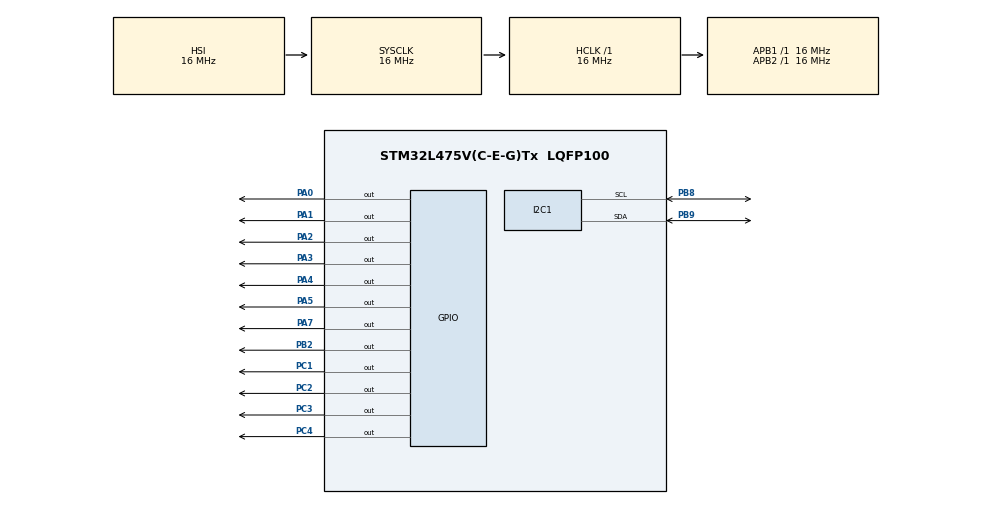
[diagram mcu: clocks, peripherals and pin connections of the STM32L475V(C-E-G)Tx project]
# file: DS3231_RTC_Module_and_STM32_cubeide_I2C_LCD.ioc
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I2C1.Timing=0x00303D5B
Mcu.Family=STM32L4
Mcu.Name=STM32L475V(C-E-G)Tx
Mcu.Package=LQFP100
NVIC.PriorityGroup=NVIC_PRIORITYGROUP_4
PA0.Signal=GPIO_Output
PA1.Signal=GPIO_Output
PA13\ (JTMS-SWDIO).Mode=Serial_Wire
PA13\ (JTMS-SWDIO).Signal=SYS_JTMS-SWDIO
PA14\ (JTCK-SWCLK).Mode=Serial_Wire
PA14\ (JTCK-SWCLK).Signal=SYS_JTCK-SWCLK
PA2.Signal=GPIO_Output
PA3.Signal=GPIO_Output
PA4.Signal=GPIO_Output
PA5.Signal=GPIO_Output
PA7.Signal=GPIO_Output
PB2.Signal=GPIO_Output
PB8.GPIO_Pu=GPIO_PULLUP
PB8.Mode=I2C
PB8.Signal=I2C1_SCL
PB9.GPIO_Pu=GPIO_PULLUP
PB9.Mode=I2C
PB9.Signal=I2C1_SDA
PC1.Signal=GPIO_Output
PC2.Signal=GPIO_Output
PC3.Signal=GPIO_Output
PC4.Signal=GPIO_Output
PH0-OSC_IN\ (PH0).Mode=HSE-External-Clock-Source
PH0-OSC_IN\ (PH0).Signal=RCC_OSC_IN
ProjectManager.HeapSize=0x200
ProjectManager.StackSize=0x400
ProjectManager.TargetToolchain=STM32CubeIDE
RCC.ADCFreq_Value=32000000
RCC.AHBFreq_Value=16000000
RCC.APB1Freq_Value=16000000
RCC.APB1TimFreq_Value=16000000
RCC.APB2Freq_Value=16000000
RCC.APB2TimFreq_Value=16000000
RCC.CortexFreq_Value=16000000
RCC.HCLKFreq_Value=16000000
RCC.HSE_VALUE=8000000
RCC.HSI_VALUE=16000000
RCC.LSE_VALUE=32768
RCC.MSI_VALUE=4000000
RCC.PLLN=13
RCC.PLLSourceVirtual=RCC_PLLSOURCE_HSE
RCC.SYSCLKFreq_VALUE=16000000
RCC.SYSCLKSource=RCC_SYSCLKSOURCE_HSI
RCC.USBFreq_Value=32000000
RCC.VCOOutputFreq_Value=104000000
board=custom

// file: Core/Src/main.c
/* USER CODE BEGIN Header */
/**
  ******************************************************************************
  * @file           : main.c
  * @brief          : Main program body
  ******************************************************************************
  * @attention
  *
  * Copyright (c) 2024 STMicroelectronics.
  * All rights reserved.
  *
  * This software is licensed under terms that can be found in the LICENSE file
  * in the root directory of this software component.
  * If no LICENSE file comes with this software, it is provided AS-IS.
  *
  ******************************************************************************
  */
/* USER CODE END Header */
#include "main.h"

/* USER CODE BEGIN Includes */
#include "i2c-lcd.h"
#include "stdio.h"
//#include "stdio.h"
/* USER CODE END Includes */

I2C_HandleTypeDef hi2c1;

void SystemClock_Config(void);
static void MX_GPIO_Init(void);
static void MX_I2C1_Init(void);

/* USER CODE BEGIN 0 */

#define DS3231_ADDRESS 0xD0
// Convert normal decimal numbers to binary coded decimal
uint8_t decToBcd(int val)
{
  return (uint8_t)( (val/10*16) + (val%10) );
}
// Convert binary coded decimal to normal decimal numbers
int bcdToDec(uint8_t val)
{
  return (int)( (val/16*10) + (val%16) );
}

typedef struct {
	uint8_t seconds;
	uint8_t minutes;
	uint8_t hour;
	uint8_t dayofweek;
	uint8_t dayofmonth;
	uint8_t month;
	uint8_t year;
}TIME;

TIME time;
/* function to set time */

void Set_Time (uint8_t sec, uint8_t min, uint8_t hour, uint8_t dow, uint8_t dom, uint8_t month, uint8_t year)
{
	uint8_t set_time[7];
	set_time[0] = decToBcd(sec);
	set_time[1] = decToBcd(min);
	set_time[2] = decToBcd(hour);
	set_time[3] = decToBcd(dow);
	set_time[4] = decToBcd(dom);
	set_time[5] = decToBcd(month);
	set_time[6] = decToBcd(year);

	HAL_I2C_Mem_Write(&hi2c1, DS3231_ADDRESS, 0x00, 1, set_time, 7, 1000);
}
void Get_Time (void)
{
	uint8_t get_time[7];
	HAL_I2C_Mem_Read(&hi2c1, DS3231_ADDRESS, 0x00, 1, get_time, 7, 1000);
	time.seconds = bcdToDec(get_time[0]);
	time.minutes = bcdToDec(get_time[1]);
	time.hour = bcdToDec(get_time[2]);
	time.dayofweek = bcdToDec(get_time[3]);
	time.dayofmonth = bcdToDec(get_time[4]);
	time.month = bcdToDec(get_time[5]);
	time.year = bcdToDec(get_time[6]);
}
float Get_Temp (void)
{
	uint8_t temp[2];

	HAL_I2C_Mem_Read(&hi2c1, DS3231_ADDRESS, 0x11, 1, temp, 2, 1000);
	return ((temp[0])+(temp[1]>>6)/4.0);
}

void force_temp_conv (void)
{
	uint8_t status=0;
	uint8_t control=0;
	HAL_I2C_Mem_Read(&hi2c1, DS3231_ADDRESS, 0x0F, 1, &status, 1, 100);  // read status register
	if (!(status&0x04))
	{
		HAL_I2C_Mem_Read(&hi2c1, DS3231_ADDRESS, 0x0E, 1, &control, 1, 100);  // read control register
		HAL_I2C_Mem_Write(&hi2c1, DS3231_ADDRESS, 0x0E, 1, (uint8_t *)(control|(0x20)), 1, 100);
	}
}

float TEMP;
char buffer[15];
/* USER CODE END 0 */

int main(void)
{

  /* MCU Configuration--------------------------------------------------------*/

  /* Reset of all peripherals, Initializes the Flash interface and the Systick. */
  HAL_Init();

  /* Configure the system clock */
  SystemClock_Config();

  /* Initialize all configured peripherals */
  MX_GPIO_Init();
  MX_I2C1_Init();
  /* USER CODE BEGIN 2 */
  lcd_initx();

  //Set_Time(00,34,13,5,3,1,19);
  /* USER CODE END 2 */

  /* Infinite loop */
  while (1)
  {

    /* USER CODE BEGIN 3 */
	  //lcd_print_string("Chulito te amo...");
	  HAL_Delay(500);
	  /*
	     HAL_GPIO_WritePin(GPIOC, GPIO_PIN_1, RESET);
	     HAL_GPIO_WritePin(GPIOC, GPIO_PIN_2, RESET);
	     HAL_GPIO_WritePin(GPIOC, GPIO_PIN_3, RESET);
	     HAL_GPIO_WritePin(GPIOC, GPIO_PIN_4, RESET);
	     HAL_GPIO_WritePin(GPIOB, GPIO_PIN_2, RESET);
	     HAL_GPIO_WritePin(GPIOA, GPIO_PIN_4, RESET);
	     HAL_GPIO_WritePin(GPIOA, GPIO_PIN_3, RESET);
	     HAL_Delay(500);
	     HAL_GPIO_WritePin(GPIOC, GPIO_PIN_1, SET);
	     HAL_GPIO_WritePin(GPIOC, GPIO_PIN_2, SET);
	     HAL_GPIO_WritePin(GPIOC, GPIO_PIN_3, SET);
	     HAL_GPIO_WritePin(GPIOC, GPIO_PIN_4, SET);
	     HAL_GPIO_WritePin(GPIOB, GPIO_PIN_2, SET);
	     HAL_GPIO_WritePin(GPIOA, GPIO_PIN_4, SET);
	     HAL_GPIO_WritePin(GPIOA, GPIO_PIN_3, SET);
     */
	// Get_Time();
	// sprintf(buffer, "%02d:%02d:%02d", time.hour,time.minutes,time.seconds);
	 //lcd_put_cur(0,0);
	 //lcd_send_string(buffer);

//	sprintf(buffer, "%02d-%02d-20%02d", time.dayofmonth,time.month,time.year);
  //  lcd_put_cur(1,0);
   // lcd_send_string(buffer);
   // force_temp_conv();

    //TEMP = Get_Temp();

    //lcd_put_cur(0, 10);

    // sprintf (buffer, "%f", TEMP);

     //lcd_send_string(buffer);

    // HAL_Delay(500);

  }
  /* USER CODE END 3 */
}

void SystemClock_Config(void)
{
  RCC_OscInitTypeDef RCC_OscInitStruct = {0};
  RCC_ClkInitTypeDef RCC_ClkInitStruct = {0};

  /** Configure the main internal regulator output voltage
  */
  if (HAL_PWREx_ControlVoltageScaling(PWR_REGULATOR_VOLTAGE_SCALE1) != HAL_OK)
  {
    Error_Handler();
  }

  /** Initializes the RCC Oscillators according to the specified parameters
  * in the RCC_OscInitTypeDef structure.
  */
  RCC_OscInitStruct.OscillatorType = RCC_OSCILLATORTYPE_HSI;
  RCC_OscInitStruct.HSIState = RCC_HSI_ON;
  RCC_OscInitStruct.HSICalibrationValue = RCC_HSICALIBRATION_DEFAULT;
  RCC_OscInitStruct.PLL.PLLState = RCC_PLL_NONE;
  if (HAL_RCC_OscConfig(&RCC_OscInitStruct) != HAL_OK)
  {
    Error_Handler();
  }

  /** Initializes the CPU, AHB and APB buses clocks
  */
  RCC_ClkInitStruct.ClockType = RCC_CLOCKTYPE_HCLK|RCC_CLOCKTYPE_SYSCLK
                              |RCC_CLOCKTYPE_PCLK1|RCC_CLOCKTYPE_PCLK2;
  RCC_ClkInitStruct.SYSCLKSource = RCC_SYSCLKSOURCE_HSI;
  RCC_ClkInitStruct.AHBCLKDivider = RCC_SYSCLK_DIV1;
  RCC_ClkInitStruct.APB1CLKDivider = RCC_HCLK_DIV1;
  RCC_ClkInitStruct.APB2CLKDivider = RCC_HCLK_DIV1;

  if (HAL_RCC_ClockConfig(&RCC_ClkInitStruct, FLASH_LATENCY_0) != HAL_OK)
  {
    Error_Handler();
  }
}

static void MX_I2C1_Init(void)
{

  hi2c1.Instance = I2C1;
  hi2c1.Init.Timing = 0x00303D5B;
  hi2c1.Init.OwnAddress1 = 0;
  hi2c1.Init.AddressingMode = I2C_ADDRESSINGMODE_7BIT;
  hi2c1.Init.DualAddressMode = I2C_DUALADDRESS_DISABLE;
  hi2c1.Init.OwnAddress2 = 0;
  hi2c1.Init.OwnAddress2Masks = I2C_OA2_NOMASK;
  hi2c1.Init.GeneralCallMode = I2C_GENERALCALL_DISABLE;
  hi2c1.Init.NoStretchMode = I2C_NOSTRETCH_DISABLE;
  if (HAL_I2C_Init(&hi2c1) != HAL_OK)
  {
    Error_Handler();
  }

  /** Configure Analogue filter
  */
  if (HAL_I2CEx_ConfigAnalogFilter(&hi2c1, I2C_ANALOGFILTER_ENABLE) != HAL_OK)
  {
    Error_Handler();
  }

  /** Configure Digital filter
  */
  if (HAL_I2CEx_ConfigDigitalFilter(&hi2c1, 0) != HAL_OK)
  {
    Error_Handler();
  }

}

static void MX_GPIO_Init(void)
{
  GPIO_InitTypeDef GPIO_InitStruct = {0};

  /* GPIO Ports Clock Enable */
  __HAL_RCC_GPIOH_CLK_ENABLE();
  __HAL_RCC_GPIOC_CLK_ENABLE();
  __HAL_RCC_GPIOA_CLK_ENABLE();
  __HAL_RCC_GPIOB_CLK_ENABLE();

  /*Configure GPIO pin Output Level */
  HAL_GPIO_WritePin(GPIOC, GPIO_PIN_1|GPIO_PIN_2|GPIO_PIN_3|GPIO_PIN_4, GPIO_PIN_RESET);

  /*Configure GPIO pin Output Level */
  HAL_GPIO_WritePin(GPIOA, GPIO_PIN_0|GPIO_PIN_1|GPIO_PIN_2|GPIO_PIN_3
                          |GPIO_PIN_4|GPIO_PIN_5|GPIO_PIN_7, GPIO_PIN_RESET);

  /*Configure GPIO pin Output Level */
  HAL_GPIO_WritePin(GPIOB, GPIO_PIN_2, GPIO_PIN_RESET);

  /*Configure GPIO pins : PC1 PC2 PC3 PC4 */
  GPIO_InitStruct.Pin = GPIO_PIN_1|GPIO_PIN_2|GPIO_PIN_3|GPIO_PIN_4;
  GPIO_InitStruct.Mode = GPIO_MODE_OUTPUT_PP;
  GPIO_InitStruct.Pull = GPIO_NOPULL;
  GPIO_InitStruct.Speed = GPIO_SPEED_FREQ_LOW;
  HAL_GPIO_Init(GPIOC, &GPIO_InitStruct);

  /*Configure GPIO pins : PA0 PA1 PA2 PA3
                           PA4 PA5 PA7 */
  GPIO_InitStruct.Pin = GPIO_PIN_0|GPIO_PIN_1|GPIO_PIN_2|GPIO_PIN_3
                          |GPIO_PIN_4|GPIO_PIN_5|GPIO_PIN_7;
  GPIO_InitStruct.Mode = GPIO_MODE_OUTPUT_PP;
  GPIO_InitStruct.Pull = GPIO_NOPULL;
  GPIO_InitStruct.Speed = GPIO_SPEED_FREQ_LOW;
  HAL_GPIO_Init(GPIOA, &GPIO_InitStruct);

  /*Configure GPIO pin : PB2 */
  GPIO_InitStruct.Pin = GPIO_PIN_2;
  GPIO_InitStruct.Mode = GPIO_MODE_OUTPUT_PP;
  GPIO_InitStruct.Pull = GPIO_NOPULL;
  GPIO_InitStruct.Speed = GPIO_SPEED_FREQ_LOW;
  HAL_GPIO_Init(GPIOB, &GPIO_InitStruct);

}

void Error_Handler(void)
{
  __disable_irq();
  while (1)
  {
  }
}
